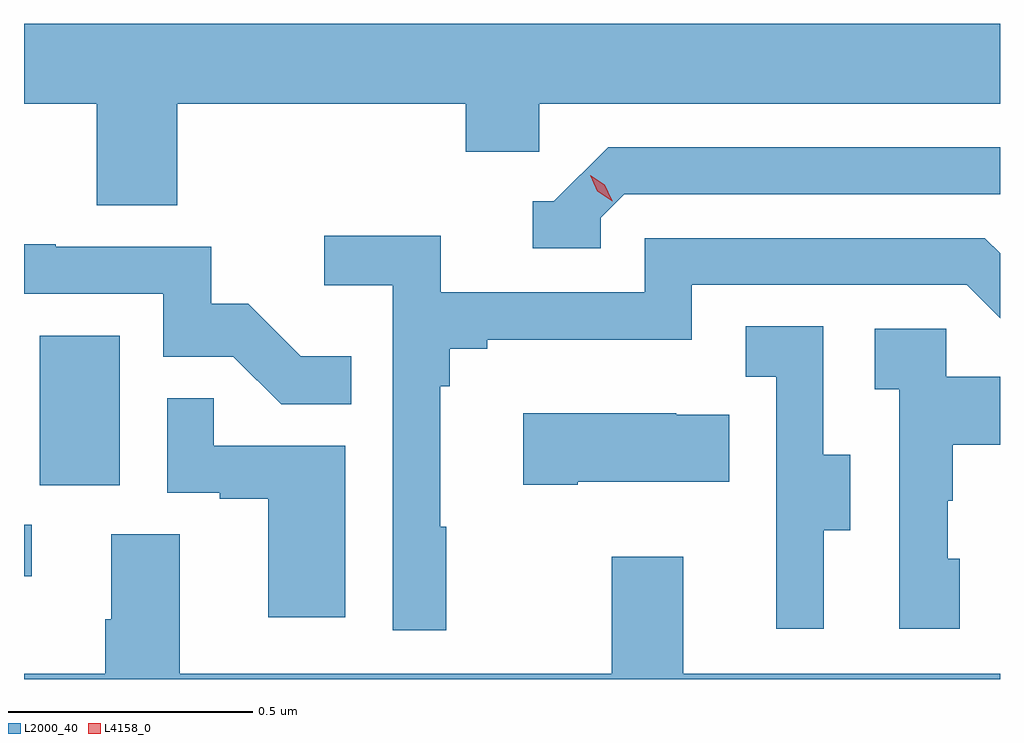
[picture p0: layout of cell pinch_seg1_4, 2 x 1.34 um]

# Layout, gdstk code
import gdstk
lib = gdstk.Library(unit=1e-6, precision=1e-09)
def R(c, l, rs):  # rectangles x0, y0, x1, y1
    for r in rs: c.add(gdstk.rectangle(r[:2], r[2:], *l))
def P(c, l, *ps):  # polygons
    for p in ps: c.add(gdstk.Polygon(p, *l))
L2000_40 = (2000, 40)
L4158_0 = (4158, 0)

pinch_seg1_4 = lib.new_cell('pinch_seg1_4')
R(pinch_seg1_4, L2000_40, [(1097.466,574.74,1097.482,574.845), (1097.498,574.926,1097.662,575.233)])
P(pinch_seg1_4, L2000_40, [(1097.78,575.708),(1098.371,575.708),(1098.371,575.61),(1098.522,575.61),(1098.522,575.708),(1099.466,575.708),(1099.466,575.872),(1097.466,575.872),(1097.466,575.708),(1097.615,575.708),(1097.615,575.5),(1097.78,575.5)],
  [(1098.648,575.475),(1098.696,575.523),(1099.466,575.523),(1099.466,575.619),(1098.663,575.619),(1098.552,575.508),(1098.509,575.508),(1098.509,575.412),(1098.648,575.412)],
  [(1098.331,574.841),(1098.319,574.841),(1098.319,575.129),(1098.338,575.129),(1098.338,575.206),(1098.415,575.206),(1098.415,575.225),(1098.834,575.225),(1098.834,575.337),(1099.398,575.337),(1099.466,575.269),(1099.466,575.402),(1099.435,575.433),(1098.738,575.433),(1098.738,575.322),(1098.32,575.322),(1098.32,575.438),(1098.081,575.438),(1098.081,575.336),(1098.222,575.336),(1098.222,574.629),(1098.331,574.629)],
  [(1098.137,575.191),(1098.033,575.191),(1097.926,575.298),(1097.85,575.298),(1097.85,575.415),(1097.531,575.415),(1097.531,575.42),(1097.466,575.42),(1097.466,575.319),(1097.751,575.319),(1097.751,575.19),(1097.895,575.19),(1097.993,575.092),(1098.137,575.092)],
  [(1099.105,574.834),(1099.159,574.834),(1099.159,574.989),(1099.104,574.989),(1099.104,575.252),(1098.945,575.252),(1098.945,575.149),(1099.008,575.149),(1099.008,574.845),(1099.007,574.845),(1099.007,574.632),(1099.105,574.632)],
  [(1099.384,574.776),(1099.359,574.776),(1099.359,574.895),(1099.369,574.895),(1099.369,575.009),(1099.466,575.009),(1099.466,575.149),(1099.356,575.149),(1099.356,575.247),(1099.209,575.247),(1099.209,575.123),(1099.26,575.123),(1099.26,574.632),(1099.384,574.632)],
  [(1098.124,575.007),(1097.855,575.007),(1097.855,575.105),(1097.76,575.105),(1097.76,574.911),(1097.867,574.911),(1097.867,574.899),(1097.966,574.899),(1097.966,574.656),(1098.124,574.656)],
  [(1098.601,574.934),(1098.911,574.934),(1098.911,575.071),(1098.803,575.071),(1098.803,575.074),(1098.489,575.074),(1098.489,574.927),(1098.601,574.927)],
  [(1099.466,574.54),(1098.817,574.54),(1098.817,574.78),(1098.67,574.78),(1098.67,574.54),(1097.785,574.54),(1097.785,574.826),(1097.645,574.826),(1097.645,574.652),(1097.633,574.652),(1097.633,574.54),(1097.466,574.54),(1097.466,574.529),(1099.466,574.529)])
P(pinch_seg1_4, L4158_0, [(1098.671,575.508),(1098.641,575.529),(1098.626,575.562),(1098.626,575.562),(1098.626,575.562),(1098.656,575.542),(1098.671,575.509),(1098.671,575.508)])

lib.write_gds('pinch_seg1_4.gds')
